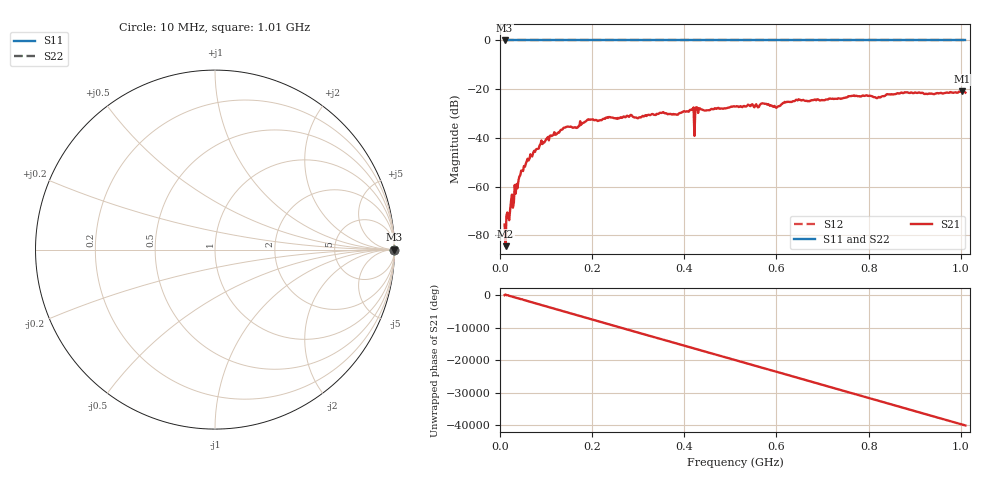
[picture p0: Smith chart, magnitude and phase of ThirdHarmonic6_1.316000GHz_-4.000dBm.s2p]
! 8/16/2025 2:35:28 PM
! C:\ANRITSUVNA\TEMP\TEMP.S2P
! CHANNEL.1
! TR.MEASUREMENT
! RAW.DATA
! RF.CORRECTION.OFF
! AVERAGING.OFF
! IF.BANDWIDTH: 5KHZ
! SWEEPTYPE:  FREQ.SWEEP(Linear)
! Reference Plane Port Info
! PORT:  PORT1  PORT2
! DISTANCE:  0  m  0  m
! TIME:  0  s  0  s
! PHASE.OFFSET:  0  deg.  0  deg.
! LOSS:  0  dB  0  dB
! REF.LOSS:  0  dB  0  dB
! REF.FREQ:  0  Hz  0  Hz
! Power Info
! POWER:  -20  dBm  -20  dBm
! EFF.POWER:  -20  dBm  -20  dBm
! SOURCE.ATTEN:  0  dB  0  dB
! TEST.ATTEN:  0  dB  0  dB
# GHZ S RI R 50.0
! FREQ.GHZ  S11RE  S11IM  S21RE  S21IM  S12RE  S12IM  S22RE  S22IM
!; PortSelection: Port_12
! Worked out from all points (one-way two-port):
!   501 points, 10 MHz to 1.01 GHz, reference 50 ohm
!   highest |S21| = -20.94 dB at 1.002 GHz (marker M1); lowest = -84.4 dB at 12 MHz (marker M2)
!   lowest |S11| = 0.0 dB at 10 MHz (marker M3)
!   |S11| at or under -10 dB: nowhere
!   |S22| runs from 0.0 to 0.0 dB; largest |S21 - S12| = 1.1
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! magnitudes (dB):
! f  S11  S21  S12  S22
! 10 MHz  0.0  -75.5  0.0  0.0
! 12 MHz  0.0  -84.4  0.0  0.0
! 16 MHz  0.0  -70.6  0.0  0.0
! 44 MHz  0.0  -55.3  0.0  0.0
! 62 MHz  0.0  -49.3  0.0  0.0
! 90 MHz  0.0  -41.0  0.0  0.0
! 114 MHz  0.0  -39.0  0.0  0.0
! 178 MHz  0.0  -34.0  0.0  0.0
! 344 MHz  0.0  -30.1  0.0  0.0
! 382 MHz  0.0  -30.4  0.0  0.0
! 416 MHz  0.0  -28.5  0.0  0.0
! 418 MHz  0.0  -28.1  0.0  0.0
! 426 MHz  0.0  -27.4  0.0  0.0
! 428 MHz  0.0  -27.5  0.0  0.0
! 510 MHz  0.0  -27.1  0.0  0.0
! 572 MHz  0.0  -25.9  0.0  0.0
! 602 MHz  0.0  -27.3  0.0  0.0
! 622 MHz  0.0  -25.2  0.0  0.0
! 678 MHz  0.0  -24.5  0.0  0.0
! 844 MHz  0.0  -22.2  0.0  0.0
! 1.002 GHz  0.0  -20.9  0.0  0.0
! 1.01 GHz  0.0  -21.4  0.0  0.0
